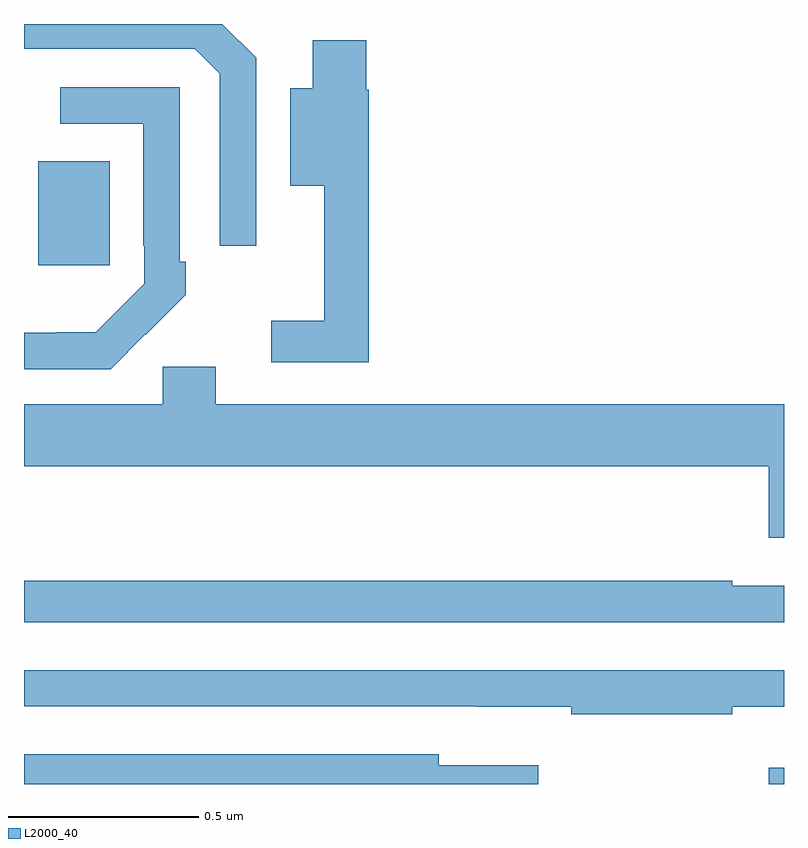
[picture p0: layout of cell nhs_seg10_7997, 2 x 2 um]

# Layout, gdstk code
import gdstk
lib = gdstk.Library(unit=1e-6, precision=1e-09)
def R(c, l, rs):  # rectangles x0, y0, x1, y1
    for r in rs: c.add(gdstk.rectangle(r[:2], r[2:], *l))
def P(c, l, *ps):  # polygons
    for p in ps: c.add(gdstk.Polygon(p, *l))
L2000_40 = (2000, 40)

nhs_seg10_7997 = lib.new_cell('nhs_seg10_7997')
R(nhs_seg10_7997, L2000_40, [(212.96,1279.5,213,1279.543), (211.037,1280.865,211.225,1281.139)])
P(nhs_seg10_7997, L2000_40, [(211.611,1281.411),(211.522,1281.5),(211,1281.5),(211,1281.435),(211.449,1281.435),(211.515,1281.369),(211.515,1280.916),(211.611,1280.916)],
  [(211.907,1281.327),(211.901,1281.327),(211.901,1281.457),(211.76,1281.457),(211.76,1281.331),(211.7,1281.331),(211.7,1281.074),(211.79,1281.074),(211.79,1280.719),(211.65,1280.719),(211.65,1280.61),(211.907,1280.61)],
  [(211.319,1280.683),(211.32,1280.682),(211.425,1280.787),(211.425,1280.875),(211.41,1280.875),(211.41,1281.333),(211.095,1281.333),(211.095,1281.237),(211.314,1281.237),(211.314,1280.917),(211.317,1280.917),(211.317,1280.817),(211.189,1280.689),(211.085,1280.689),(211.085,1280.688),(211,1280.688),(211,1280.592),(211.228,1280.592)],
  [(213,1280.5),(211.504,1280.5),(211.504,1280.598),(211.365,1280.598),(211.365,1280.5),(211,1280.5),(211,1280.336),(212.96,1280.336),(212.96,1280.148),(213,1280.148)],
  [(213,1280.022),(212.864,1280.022),(212.864,1280.035),(211,1280.035),(211,1279.926),(213,1279.926)],
  [(212.864,1279.703),(213,1279.703),(213,1279.8),(211,1279.8),(211,1279.704),(212.188,1279.704),(212.188,1279.703),(212.44,1279.703),(212.44,1279.684),(212.864,1279.684)],
  [(212.353,1279.549),(212.092,1279.549),(212.092,1279.578),(211,1279.578),(211,1279.5),(212.353,1279.5)])

lib.write_gds('nhs_seg10_7997.gds')
